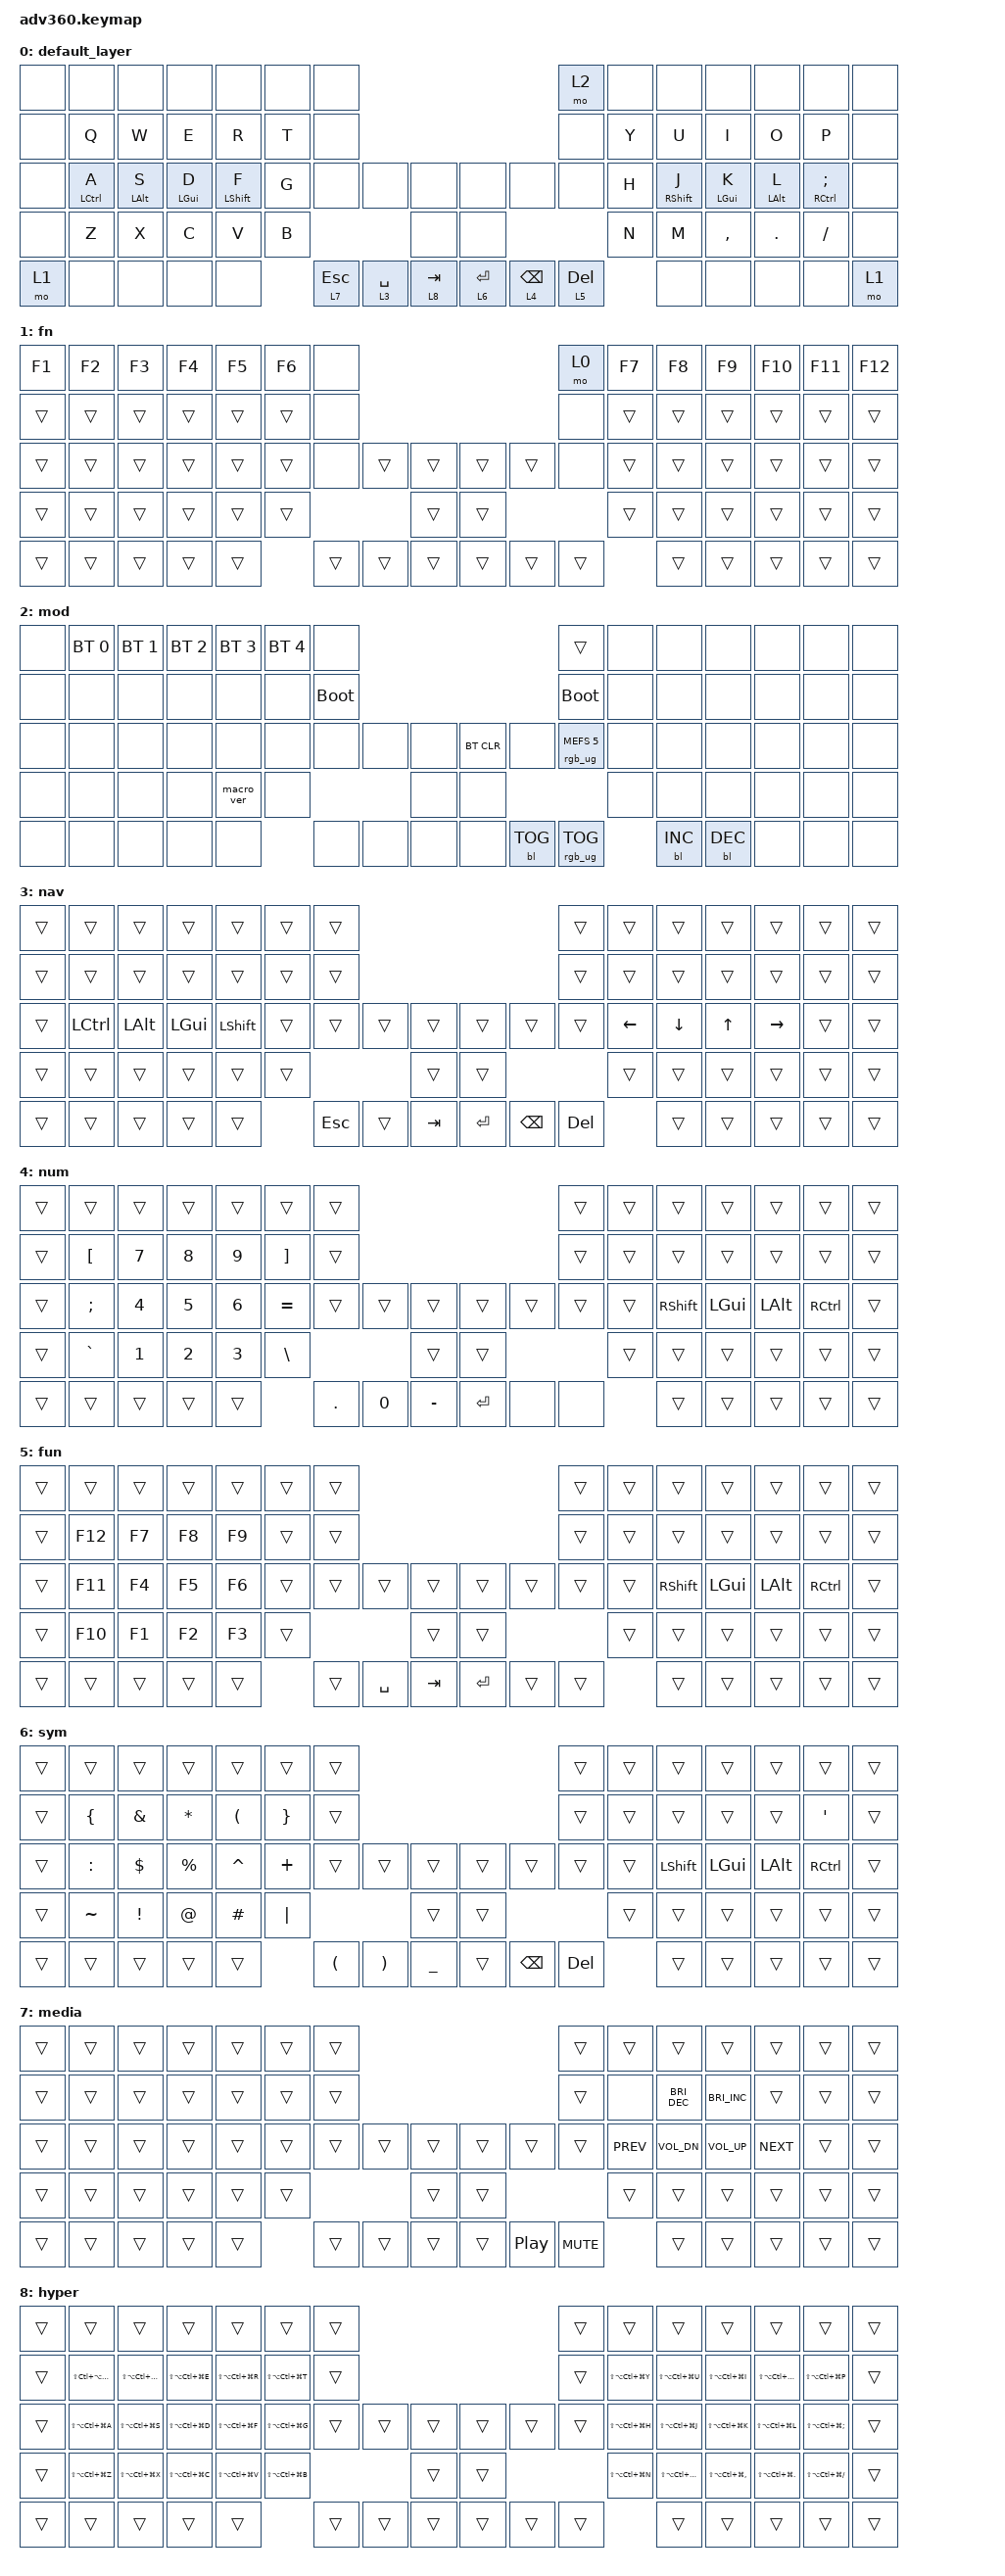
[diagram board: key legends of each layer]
#include <behaviors.dtsi>
#include <dt-bindings/zmk/backlight.h>
#include <dt-bindings/zmk/bt.h>
#include <dt-bindings/zmk/keys.h>
#include <dt-bindings/zmk/rgb.h>

/ {
    behaviors {
        #include "macros.dtsi"
      #include "version.dtsi"
      #ifndef VERSION_MACRO

        macro_ver: macro_ver {
            compatible = "zmk,behavior-macro";
            label = "macro_version";
            #binding-cells = <0>;
            bindings = <&kp RET>;
        };

        #endif

        hml: homerow_mods_left {
            compatible = "zmk,behavior-hold-tap";
            label = "HOMEROW_MODS_LEFT";
            #binding-cells = <2>;
            tapping-term-ms = <300>;
            flavor = "balanced";
            bindings = <&kp>, <&kp>;

            require-prior-idle-ms = <150>;
            hold-trigger-key-positions = <22 40 54 56 55 41 23 24 42 43 25 26 44 58 57 65 67 66 68 69 70>;
            quick-tap-ms = <175>;
            hold-trigger-on-release;
        };

        hmr: homerow_mods_right {
            compatible = "zmk,behavior-hold-tap";
            label = "HOMEROW_MODS_RIGHT";
            #binding-cells = <2>;
            tapping-term-ms = <300>;
            flavor = "balanced";
            bindings = <&kp>, <&kp>;

            require-prior-idle-ms = <150>;
            hold-trigger-key-positions = <18 19 17 15 16 29 48 30 47 49 31 32 50 51 33 65 67 66 68 69 70>;
            quick-tap-ms = <175>;
            hold-trigger-on-release;
        };
    };

    macros {
    };

    keymap {
        compatible = "zmk,keymap";

        default_layer {
            bindings = <
&none  &none         &none        &none            &none          &none  &none                                                                &mo 2      &none  &none          &none        &none        &none            &none
&none  &kp Q         &kp W        &kp E            &kp R          &kp T  &none                                                                &none      &kp Y  &kp U          &kp I        &kp O        &kp P            &none
&none  &hml LCTRL A  &hml LALT S  &hml LEFT_GUI D  &hml LSHIFT F  &kp G  &none      &none        &none          &none        &none            &none      &kp H  &hmr RSHIFT J  &hmr LGUI K  &hmr LALT L  &hmr RCTRL SEMI  &none
&none  &kp Z         &kp X        &kp C            &kp V          &kp B                          &none          &none                                    &kp N  &kp M          &kp COMMA    &kp DOT      &kp FSLH         &none
&mo 1  &none         &none        &none            &none                 &lt 7 ESC  &lt 3 SPACE  &lt 8 TAB      &lt 6 ENTER  &lt 4 BACKSPACE  &lt 5 DEL         &none          &none        &none        &none            &mo 1
            >;
        };

        fn {
            bindings = <
&kp F1  &kp F2  &kp F3  &kp F4  &kp F5  &kp F6  &none                                       &mo 0   &kp F7  &kp F8  &kp F9  &kp F10  &kp F11  &kp F12
&trans  &trans  &trans  &trans  &trans  &trans  &none                                       &none   &trans  &trans  &trans  &trans   &trans   &trans
&trans  &trans  &trans  &trans  &trans  &trans  &none   &trans  &trans      &trans  &trans  &none   &trans  &trans  &trans  &trans   &trans   &trans
&trans  &trans  &trans  &trans  &trans  &trans                  &trans      &trans                  &trans  &trans  &trans  &trans   &trans   &trans
&trans  &trans  &trans  &trans  &trans          &trans  &trans  &trans      &trans  &trans  &trans          &trans  &trans  &trans   &trans   &trans
            >;
        };

        mod {
            bindings = <
&none  &bt BT_SEL 0  &bt BT_SEL 1  &bt BT_SEL 2  &bt BT_SEL 3  &bt BT_SEL 4  &none                                                  &trans                  &none  &none       &none       &none  &none  &none
&none  &none         &none         &none         &none         &none         &bootloader                                            &bootloader             &none  &none       &none       &none  &none  &none
&none  &none         &none         &none         &none         &none         &none        &none  &none      &bt BT_CLR  &none       &rgb_ug RGB_MEFS_CMD 5  &none  &none       &none       &none  &none  &none
&none  &none         &none         &none         &macro_ver    &none                             &none      &none                                           &none  &none       &none       &none  &none  &none
&none  &none         &none         &none         &none                       &none        &none  &none      &none       &bl BL_TOG  &rgb_ug RGB_TOG                &bl BL_INC  &bl BL_DEC  &none  &none  &none
            >;
        };

        nav {
            bindings = <
&trans  &trans     &trans    &trans    &trans     &trans  &trans                                                  &trans      &trans    &trans    &trans  &trans     &trans  &trans
&trans  &trans     &trans    &trans    &trans     &trans  &trans                                                  &trans      &trans    &trans    &trans  &trans     &trans  &trans
&trans  &kp LCTRL  &kp LALT  &kp LGUI  &kp LSHFT  &trans  &trans   &trans  &trans       &trans     &trans         &trans      &kp LEFT  &kp DOWN  &kp UP  &kp RIGHT  &trans  &trans
&trans  &trans     &trans    &trans    &trans     &trans                   &trans       &trans                                &trans    &trans    &trans  &trans     &trans  &trans
&trans  &trans     &trans    &trans    &trans             &kp ESC  &trans  &kp TAB      &kp ENTER  &kp BACKSPACE  &kp DELETE            &trans    &trans  &trans     &trans  &trans
            >;
        };

        num {
            bindings = <
&trans  &trans     &trans  &trans  &trans  &trans     &trans                                             &trans  &trans  &trans     &trans    &trans    &trans     &trans
&trans  &kp LBKT   &kp N7  &kp N8  &kp N9  &kp RBKT   &trans                                             &trans  &trans  &trans     &trans    &trans    &trans     &trans
&trans  &kp SEMI   &kp N4  &kp N5  &kp N6  &kp EQUAL  &trans   &trans  &trans         &trans     &trans  &trans  &trans  &kp RSHFT  &kp LGUI  &kp LALT  &kp RCTRL  &trans
&trans  &kp GRAVE  &kp N1  &kp N2  &kp N3  &kp BSLH                    &trans         &trans                     &trans  &trans     &trans    &trans    &trans     &trans
&trans  &trans     &trans  &trans  &trans             &kp DOT  &kp N0  &kp MINUS      &kp ENTER  &none   &none           &trans     &trans    &trans    &trans     &trans
            >;
        };

        fun {
            bindings = <
&trans  &trans   &trans  &trans  &trans  &trans  &trans                                             &trans  &trans  &trans     &trans    &trans    &trans     &trans
&trans  &kp F12  &kp F7  &kp F8  &kp F9  &trans  &trans                                             &trans  &trans  &trans     &trans    &trans    &trans     &trans
&trans  &kp F11  &kp F4  &kp F5  &kp F6  &trans  &trans  &trans     &trans       &trans     &trans  &trans  &trans  &kp RSHFT  &kp LGUI  &kp LALT  &kp RCTRL  &trans
&trans  &kp F10  &kp F1  &kp F2  &kp F3  &trans                     &trans       &trans                     &trans  &trans     &trans    &trans    &trans     &trans
&trans  &trans   &trans  &trans  &trans          &trans  &kp SPACE  &kp TAB      &kp ENTER  &trans  &trans          &trans     &trans    &trans    &trans     &trans
            >;
        };

        sym {
            bindings = <
&trans  &trans          &trans      &trans       &trans                &trans           &trans                                                                             &trans   &trans  &trans      &trans    &trans    &trans     &trans
&trans  &kp LEFT_BRACE  &kp AMPS    &kp ASTRK    &kp LEFT_PARENTHESIS  &kp RIGHT_BRACE  &trans                                                                             &trans   &trans  &trans      &trans    &trans    &kp SQT    &trans
&trans  &kp COLON       &kp DOLLAR  &kp PERCENT  &kp CARET             &kp PLUS         &trans                &trans                 &trans         &trans  &trans         &trans   &trans  &kp LSHIFT  &kp LGUI  &kp LALT  &kp RCTRL  &trans
&trans  &kp TILDE       &kp EXCL    &kp AT       &kp HASH              &kp PIPE                                                      &trans         &trans                          &trans  &trans      &trans    &trans    &trans     &trans
&trans  &trans          &trans      &trans       &trans                                 &kp LEFT_PARENTHESIS  &kp RIGHT_PARENTHESIS  &kp UNDER      &trans  &kp BACKSPACE  &kp DEL          &trans      &trans    &trans    &trans     &trans
            >;
        };

        media {
            bindings = <
&trans  &trans  &trans  &trans  &trans  &trans  &trans                                                &trans      &trans      &trans         &trans         &trans      &trans  &trans
&trans  &trans  &trans  &trans  &trans  &trans  &trans                                                &trans      &none       &kp C_BRI_DEC  &kp C_BRI_INC  &trans      &trans  &trans
&trans  &trans  &trans  &trans  &trans  &trans  &trans  &trans  &trans      &trans  &trans            &trans      &kp C_PREV  &kp C_VOL_DN   &kp C_VOL_UP   &kp C_NEXT  &trans  &trans
&trans  &trans  &trans  &trans  &trans  &trans                  &trans      &trans                                &trans      &trans         &trans         &trans      &trans  &trans
&trans  &trans  &trans  &trans  &trans          &trans  &trans  &trans      &trans  &kp C_PLAY_PAUSE  &kp C_MUTE              &trans         &trans         &trans      &trans  &trans
            >;
        };

        hyper {
            bindings = <
&trans  &trans                 &trans                 &trans                 &trans                 &trans                 &trans                                      &trans  &trans                 &trans                 &trans                     &trans                   &trans                    &trans
&trans  &kp LS(LC(LA(LG(Q))))  &kp LS(LA(LC(LG(W))))  &kp LS(LA(LC(LG(E))))  &kp LS(LA(LC(LG(R))))  &kp LS(LA(LC(LG(T))))  &trans                                      &trans  &kp LS(LA(LC(LG(Y))))  &kp LS(LA(LC(LG(U))))  &kp LS(LA(LC(LG(I))))      &kp LS(LA(LC(LG(O))))    &kp LS(LA(LC(LG(P))))     &trans
&trans  &kp LS(LA(LC(LG(A))))  &kp LS(LA(LC(LG(S))))  &kp LS(LA(LC(LG(D))))  &kp LS(LA(LC(LG(F))))  &kp LS(LA(LC(LG(G))))  &trans  &trans  &trans      &trans  &trans  &trans  &kp LS(LA(LC(LG(H))))  &kp LS(LA(LC(LG(J))))  &kp LS(LA(LC(LG(K))))      &kp LS(LA(LC(LG(L))))    &kp LS(LA(LC(LG(SEMI))))  &trans
&trans  &kp LS(LA(LC(LG(Z))))  &kp LS(LA(LC(LG(X))))  &kp LS(LA(LC(LG(C))))  &kp LS(LA(LC(LG(V))))  &kp LS(LA(LC(LG(B))))                  &trans      &trans                  &kp LS(LA(LC(LG(N))))  &kp LS(LA(LC(LG(M))))  &kp LS(LA(LC(LG(COMMA))))  &kp LS(LA(LC(LG(DOT))))  &kp LS(LA(LC(LG(FSLH))))  &trans
&trans  &trans                 &trans                 &trans                 &trans                                        &trans  &trans  &trans      &trans  &trans  &trans                         &trans                 &trans                     &trans                   &trans                    &trans
            >;
        };
    };
};
